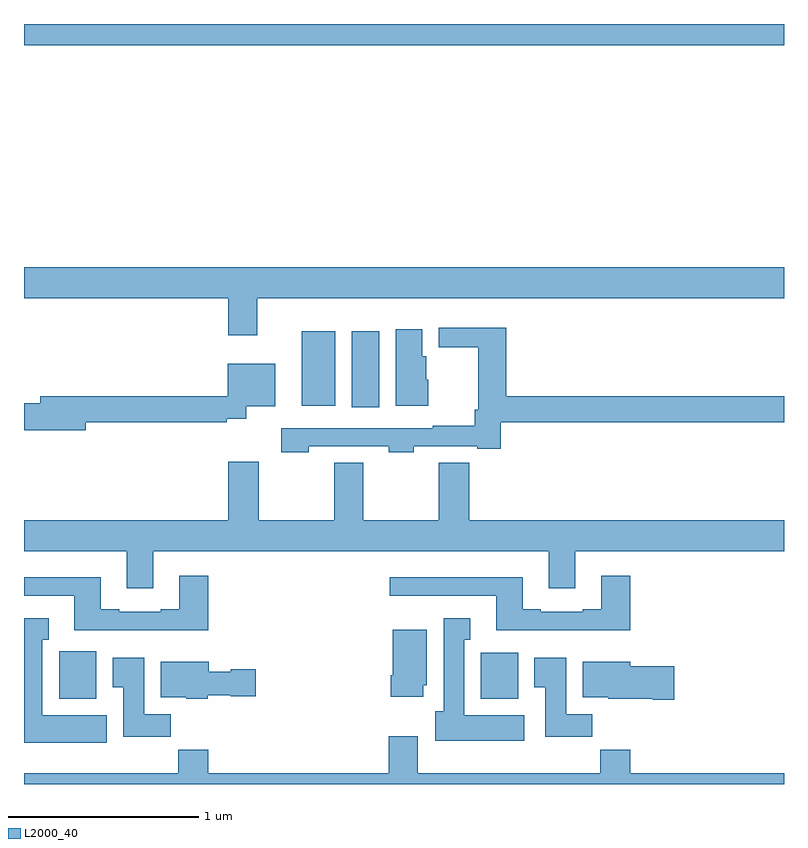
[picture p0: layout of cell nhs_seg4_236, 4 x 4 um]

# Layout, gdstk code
import gdstk
lib = gdstk.Library(unit=1e-6, precision=1e-09)
def R(c, l, rs):  # rectangles x0, y0, x1, y1
    for r in rs: c.add(gdstk.rectangle(r[:2], r[2:], *l))
def P(c, l, *ps):  # polygons
    for p in ps: c.add(gdstk.Polygon(p, *l))
L2000_40 = (2000, 40)

nhs_seg4_236 = lib.new_cell('nhs_seg4_236')
R(nhs_seg4_236, L2000_40, [(121.185,825.35,121.381,825.6), (123.404,825.35,123.601,825.592), (122.726,826.884,122.869,827.284), (122.462,826.892,122.638,827.284), (121,828.788,125,828.9)])
P(nhs_seg4_236, L2000_40, [(122.227,827.456),(125,827.456),(125,827.62),(121,827.62),(121,827.456),(122.075,827.456),(122.075,827.262),(122.227,827.262)],
  [(122.499,826.677),(122.919,826.677),(122.919,826.645),(123.051,826.645),(123.051,826.677),(123.386,826.677),(123.386,826.665),(123.509,826.665),(123.509,826.804),(125,826.804),(125,826.94),(123.539,826.94),(123.539,827.302),(123.183,827.302),(123.183,827.2),(123.392,827.2),(123.392,826.87),(123.373,826.87),(123.373,826.786),(123.151,826.786),(123.151,826.773),(122.355,826.773),(122.355,826.645),(122.499,826.645)],
  [(123.127,827.028),(123.118,827.028),(123.118,827.151),(123.097,827.151),(123.097,827.293),(122.957,827.293),(122.957,826.892),(123.127,826.892)],
  [(121.324,826.804),(122.066,826.804),(122.066,826.822),(122.169,826.822),(122.169,826.889),(122.323,826.889),(122.323,827.113),(122.073,827.113),(122.073,826.94),(121.085,826.94),(121.085,826.904),(121,826.904),(121,826.762),(121.324,826.762)],
  [(121.681,826.124),(123.761,826.124),(123.761,825.93),(123.901,825.93),(123.901,826.124),(125,826.124),(125,826.288),(123.344,826.288),(123.344,826.592),(123.184,826.592),(123.184,826.288),(122.786,826.288),(122.786,826.592),(122.632,826.592),(122.632,826.288),(122.235,826.288),(122.235,826.597),(122.075,826.597),(122.075,826.288),(121,826.288),(121,826.124),(121.541,826.124),(121.541,825.93),(121.681,825.93)],
  [(124.19,825.997),(124.037,825.997),(124.037,825.82),(123.941,825.82),(123.941,825.807),(123.721,825.807),(123.721,825.82),(123.625,825.82),(123.625,825.988),(122.925,825.988),(122.925,825.891),(123.485,825.891),(123.485,825.71),(124.19,825.71)],
  [(121.97,825.997),(121.817,825.997),(121.817,825.82),(121.721,825.82),(121.721,825.807),(121.501,825.807),(121.501,825.82),(121.405,825.82),(121.405,825.988),(121,825.988),(121,825.891),(121.265,825.891),(121.265,825.71),(121.97,825.71)],
  [(121.435,825.262),(121.096,825.262),(121.096,825.659),(121.129,825.659),(121.129,825.772),(121,825.772),(121,825.116),(121.435,825.116)],
  [(123.634,825.262),(123.316,825.262),(123.316,825.659),(123.349,825.659),(123.349,825.772),(123.209,825.772),(123.209,825.282),(123.164,825.282),(123.164,825.128),(123.634,825.128)],
  [(123.1,825.42),(123.121,825.42),(123.121,825.712),(122.942,825.712),(122.942,825.472),(122.93,825.472),(122.93,825.36),(123.1,825.36)],
  [(121.772,825.268),(121.633,825.268),(121.633,825.565),(121.466,825.565),(121.466,825.409),(121.523,825.409),(121.523,825.15),(121.772,825.15)],
  [(123.992,825.268),(123.853,825.268),(123.853,825.565),(123.686,825.565),(123.686,825.409),(123.743,825.409),(123.743,825.15),(123.992,825.15)],
  [(121.968,825.368),(122.088,825.368),(122.088,825.361),(122.221,825.361),(122.221,825.503),(122.088,825.503),(122.088,825.49),(121.972,825.49),(121.972,825.544),(121.721,825.544),(121.721,825.356),(121.854,825.356),(121.854,825.35),(121.968,825.35)],
  [(124.423,825.521),(124.192,825.521),(124.192,825.544),(123.941,825.544),(123.941,825.356),(124.074,825.356),(124.074,825.35),(124.31,825.35),(124.31,825.343),(124.423,825.343)],
  [(125,824.956),(124.19,824.956),(124.19,825.08),(124.033,825.08),(124.033,824.956),(123.073,824.956),(123.073,825.151),(122.921,825.151),(122.921,824.956),(121.97,824.956),(121.97,825.08),(121.813,825.08),(121.813,824.956),(121,824.956),(121,824.9),(125,824.9)])

lib.write_gds('nhs_seg4_236.gds')
